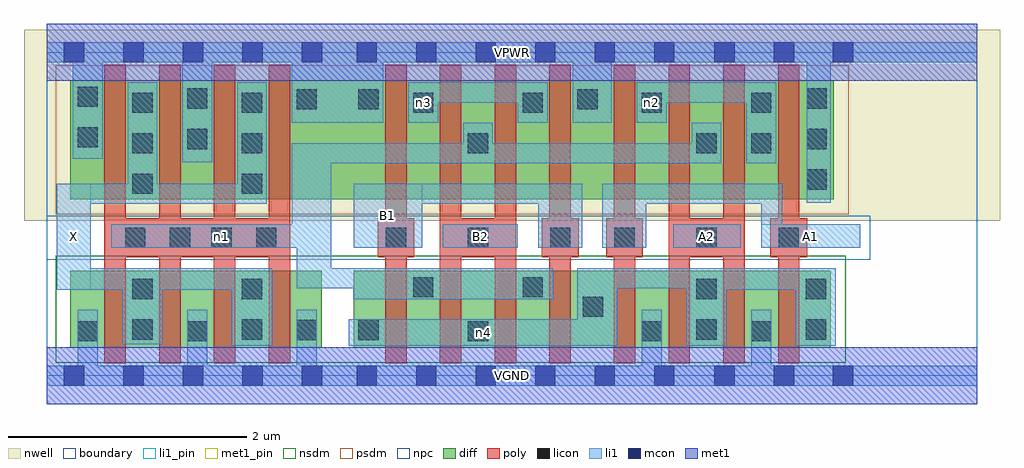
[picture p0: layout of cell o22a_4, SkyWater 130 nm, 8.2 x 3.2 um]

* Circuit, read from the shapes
.subckt o22a_4 A1 A2 B1 B2 VGND VPWR X n1 n2 n3 n4
XM1 X n1 VGND VSUBS sky130_fd_pr__nfet_01v8 w=0.65 l=0.18 m=4
XM2 n1 B1 n4 VSUBS sky130_fd_pr__nfet_01v8 w=0.65 l=0.18 m=2
XM3 n4 B2 n1 VSUBS sky130_fd_pr__nfet_01v8 w=0.65 l=0.18 m=2
XM4 VGND A1 n4 VSUBS sky130_fd_pr__nfet_01v8 w=0.65 l=0.18 m=2
XM5 n4 A2 VGND VSUBS sky130_fd_pr__nfet_01v8 w=0.65 l=0.18 m=2
XM6 X n1 VPWR n5 sky130_fd_pr__pfet_01v8 w=1 l=0.18 m=4
XM7 n3 B1 VPWR n5 sky130_fd_pr__pfet_01v8 w=1 l=0.18 m=2
XM8 n1 B2 n3 n5 sky130_fd_pr__pfet_01v8 w=1 l=0.18 m=2
XM9 n2 A1 VPWR n5 sky130_fd_pr__pfet_01v8 w=1 l=0.18 m=2
XM10 n1 A2 n2 n5 sky130_fd_pr__pfet_01v8 w=1 l=0.18 m=2
.ends

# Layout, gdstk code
import gdstk
lib = gdstk.Library(unit=1e-6, precision=1e-09)
def R(c, l, rs):  # rectangles x0, y0, x1, y1
    for r in rs: c.add(gdstk.rectangle(r[:2], r[2:], *l))
def A(c, l, x, y, w, h, nx, ny, dx, dy):  # array of equal rectangles
    R(c, l, [(x+i*dx, y+j*dy, x+i*dx+w, y+j*dy+h) for i in range(nx) for j in range(ny)])
nwell = (64, 20)
diff = (65, 20)
poly = (66, 20)
licon = (66, 44)
li1_pin = (67, 16)
li1 = (67, 20)
mcon = (67, 44)
met1_pin = (68, 16)
met1 = (68, 20)
nsdm = (93, 44)
psdm = (94, 20)
npc = (95, 20)
boundary = (235, 4)

o22a_4 = lib.new_cell('o22a_4')
R(o22a_4, nwell, [(-0.19,1.305,8.01,2.91), (0,1.305,7.82,2.91)])
R(o22a_4, diff, [(0.2,0.235,2.31,0.885), (2.58,0.235,6.59,0.885), (0.2,1.485,6.615,2.485)])
A(o22a_4, poly, 0.485, 0.105, 0.18, 2.51, 4, 1, 0.46, 0)
A(o22a_4, poly, 2.845, 0.105, 0.18, 2.51, 4, 1, 0.46, 0)
A(o22a_4, poly, 4.765, 0.105, 0.18, 2.51, 4, 1, 0.46, 0)
R(o22a_4, poly, [(0.485,0.995,2.045,1.325), (2.78,0.995,3.09,1.325), (3.305,0.995,3.945,1.325), (4.16,0.995,4.47,1.325), (4.7,0.995,5.01,1.325), (5.225,0.995,5.865,1.325), (6.08,0.995,6.39,1.325)])
A(o22a_4, licon, 2.85, 1.075, 0.17, 0.17, 3, 1, 0.69, 0)
A(o22a_4, licon, 4.77, 1.075, 0.17, 0.17, 3, 1, 0.69, 0)
A(o22a_4, licon, 0.72, 1.53, 0.17, 0.17, 1, 3, 0, 0.34)
A(o22a_4, licon, 1.64, 1.53, 0.17, 0.17, 1, 3, 0, 0.34)
A(o22a_4, licon, 6.385, 1.565, 0.17, 0.17, 1, 3, 0, 0.34)
R(o22a_4, licon, [(0.26,0.29,0.43,0.46), (1.18,0.29,1.35,0.46), (3.54,0.29,3.71,0.46), (5,0.29,5.17,0.46), (5.92,0.29,6.09,0.46), (2.1,0.3,2.27,0.47), (2.62,0.3,2.79,0.47), (0.72,0.305,0.89,0.475), (1.64,0.305,1.81,0.475), (5.46,0.305,5.63,0.475), (6.38,0.305,6.55,0.475), (4.505,0.495,4.675,0.665), (0.72,0.645,0.89,0.815), (1.64,0.645,1.81,0.815), (5.46,0.645,5.63,0.815), (6.38,0.645,6.55,0.815), (3.08,0.66,3.25,0.83), (4,0.66,4.17,0.83), (0.66,1.075,0.83,1.245), (1.035,1.075,1.205,1.245), (1.385,1.075,1.555,1.245), (1.76,1.075,1.93,1.245), (3.54,1.87,3.71,2.04), (5.46,1.87,5.63,2.04), (5.92,1.87,6.09,2.04), (1.18,1.905,1.35,2.075), (0.26,1.92,0.43,2.09), (3.08,2.21,3.25,2.38), (4,2.21,4.17,2.38), (5,2.21,5.17,2.38), (5.92,2.21,6.09,2.38), (2.1,2.24,2.27,2.41), (2.62,2.24,2.79,2.41), (4.46,2.24,4.63,2.41), (1.18,2.245,1.35,2.415), (0.26,2.26,0.43,2.43)])
R(o22a_4, li1_pin, [(0.085,0.725,0.37,1.615), (2.58,1.075,3.155,1.615), (3.33,1.075,3.96,1.275), (5.265,1.075,5.83,1.275), (6.005,1.075,6.835,1.275)])
A(o22a_4, li1, 0.26, -0.085, 0.17, 0.64, 3, 1, 0.92, 0)
R(o22a_4, li1, [(0,-0.085,7.82,0.085), (5,-0.085,5.17,0.555), (5.92,-0.085,6.09,0.555), (1.555,0.255,1.895,0.905), (2.54,0.255,4.795,0.475), (4.46,0.255,4.795,0.905), (5.375,0.255,5.715,0.905), (6.295,0.255,6.63,0.905), (0.635,0.265,0.975,0.905), (2.575,0.645,4.255,0.905), (0.085,0.725,1.895,0.905), (0.085,0.725,0.37,1.615), (5.375,0.725,6.63,0.905), (2.1,0.735,2.39,1.955), (2.1,0.735,4.255,0.905), (4.46,0.735,6.63,0.905), (0.545,1.075,2.39,1.275), (2.06,1.075,2.39,1.955), (2.58,1.075,3.155,1.615), (3.33,1.075,3.96,1.275), (4.13,1.075,4.5,1.615), (4.67,1.075,5.04,1.615), (5.265,1.075,5.83,1.275), (6.005,1.075,6.835,1.275), (6.005,1.075,6.18,1.615), (0.085,1.445,1.85,1.615), (0.68,1.445,0.93,2.465), (1.6,1.445,1.85,2.465), (2.58,1.445,4.5,1.615), (4.67,1.445,6.18,1.615), (6.385,1.455,6.59,2.805), (2.06,1.785,5.67,1.955), (3.5,1.785,3.75,2.125), (5.42,1.785,5.67,2.125), (5.88,1.785,6.13,2.465), (1.14,1.795,1.39,2.805), (0.22,1.825,0.47,2.805), (2.06,2.125,2.83,2.805), (3.04,2.125,3.29,2.465), (3.96,2.125,4.21,2.465), (4.42,2.125,4.75,2.805), (4.96,2.125,5.21,2.465), (3.04,2.295,4.21,2.465), (4.96,2.295,6.13,2.465), (0,2.635,7.82,2.805)])
A(o22a_4, mcon, 0.145, -0.085, 0.17, 0.17, 5, 2, 0.5, 2.72)
A(o22a_4, mcon, 2.605, -0.085, 0.17, 0.17, 6, 2, 0.5, 2.72)
R(o22a_4, mcon, [(5.61,-0.085,5.78,0.085), (6.11,-0.085,6.28,0.085), (6.605,-0.085,6.775,0.085), (5.61,2.635,5.78,2.805), (6.11,2.635,6.28,2.805), (6.605,2.635,6.775,2.805)])
R(o22a_4, met1_pin, [(0,-0.24,7.82,0.24), (0,2.48,7.82,2.96)])
R(o22a_4, met1, [(0,-0.24,7.82,0.24), (0,2.48,7.82,2.96)])
R(o22a_4, nsdm, [(0.075,0.11,6.715,1.01)])
R(o22a_4, psdm, [(0.075,1.36,6.74,2.61)])
R(o22a_4, npc, [(0,0.975,6.92,1.345)])
R(o22a_4, boundary, [(0,0,7.82,2.72)])
o22a_4.add(gdstk.Label('A1', (6.42,1.175), layer=67, texttype=5))
o22a_4.add(gdstk.Label('A2', (5.547,1.175), layer=67, texttype=5))
o22a_4.add(gdstk.Label('B1', (2.867,1.345), layer=67, texttype=5))
o22a_4.add(gdstk.Label('B2', (3.645,1.175), layer=67, texttype=5))
o22a_4.add(gdstk.Label('X', (0.227,1.17), layer=67, texttype=5))
o22a_4.add(gdstk.Label('n4', (3.667,0.365), layer=67, texttype=5))
o22a_4.add(gdstk.Label('n1', (1.467,1.175), layer=67, texttype=5))
o22a_4.add(gdstk.Label('n3', (3.165,2.295), layer=67, texttype=5))
o22a_4.add(gdstk.Label('n2', (5.085,2.295), layer=67, texttype=5))
o22a_4.add(gdstk.Label('VPWR', (3.91,2.72), layer=68, texttype=5))
o22a_4.add(gdstk.Label('VGND', (3.91,0), layer=68, texttype=5))
o22a_4.add(gdstk.Label('A1', (6.42,1.175), layer=67, texttype=16))
o22a_4.add(gdstk.Label('A2', (5.547,1.175), layer=67, texttype=16))
o22a_4.add(gdstk.Label('B1', (2.867,1.345), layer=67, texttype=16))
o22a_4.add(gdstk.Label('B2', (3.645,1.175), layer=67, texttype=16))
o22a_4.add(gdstk.Label('X', (0.227,1.17), layer=67, texttype=16))
o22a_4.add(gdstk.Label('VPWR', (3.91,2.72), layer=68, texttype=16))
o22a_4.add(gdstk.Label('VGND', (3.91,0), layer=68, texttype=16))

lib.write_gds('o22a_4.gds')
